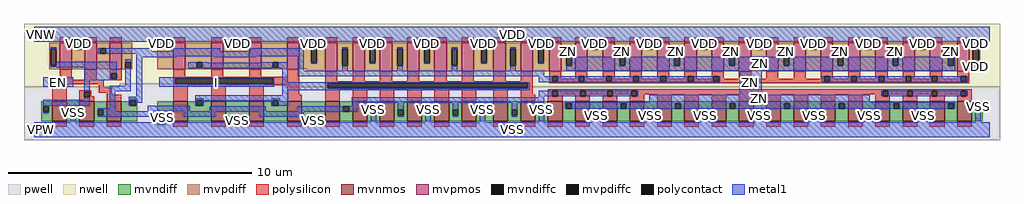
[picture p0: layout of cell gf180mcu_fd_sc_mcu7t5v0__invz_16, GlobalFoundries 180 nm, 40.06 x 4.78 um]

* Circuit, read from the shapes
.subckt gf180mcu_fd_sc_mcu7t5v0__invz_16 EN I ZN VDD VNW VPW VSS
XM1 VSS EN n1 VPW nfet_06v0 w=0.82u l=0.6u
XM2 n2 n1 VSS VPW nfet_06v0 w=0.82u l=0.6u
XM3 n3 EN n2 VPW nfet_06v0 w=0.82u l=0.6u
XM4 n4 I VSS VPW nfet_06v0 w=0.82u l=0.6u m=4
XM5 n2 n4 VSS VPW nfet_06v0 w=0.82u l=0.6u m=8
XM6 ZN n2 VSS VPW nfet_06v0 w=0.82u l=0.6u m=16
XM7 VDD EN n1 VNW pfet_06v0 w=1.095u l=0.5u
XM8 n3 EN VDD VNW pfet_06v0 w=1.095u l=0.5u
XM9 n2 n1 n3 VNW pfet_06v0 w=1.095u l=0.5u
XM10 n4 I VDD VNW pfet_06v0 w=1.095u l=0.5u m=4
XM11 n3 n4 VDD VNW pfet_06v0 w=1.18u l=0.5u m=8
XM12 ZN n3 VDD VNW pfet_06v0 w=1.18u l=0.5u m=16
.ends

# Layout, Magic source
magic
tech gf180mcuD
magscale 1 10
<< nwell >>
rect -86 377 7926 870
rect -86 352 699 377
rect 2089 352 7926 377
<< pwell >>
rect 699 352 2089 377
rect -86 -86 7926 352
<< mvnmos >>
rect 145 68 265 232
rect 369 68 489 232
rect 593 68 713 232
rect 1139 68 1259 232
rect 1451 68 1571 232
rect 1763 68 1883 232
rect 2075 68 2195 232
rect 2387 68 2507 232
rect 2611 68 2731 232
rect 2835 68 2955 232
rect 3059 68 3179 232
rect 3283 68 3403 232
rect 3507 68 3627 232
rect 3767 68 3887 232
rect 3991 68 4111 232
rect 4215 68 4335 232
rect 4439 68 4559 232
rect 4663 68 4783 232
rect 4887 68 5007 232
rect 5111 68 5231 232
rect 5335 68 5455 232
rect 5559 68 5679 232
rect 5783 68 5903 232
rect 6007 68 6127 232
rect 6231 68 6351 232
rect 6455 68 6575 232
rect 6679 68 6799 232
rect 6903 68 7023 232
rect 7127 68 7247 232
rect 7351 68 7471 232
rect 7575 68 7695 232
<< mvpmos >>
rect 208 497 308 716
rect 412 497 512 716
rect 616 497 716 716
rect 1139 497 1239 716
rect 1451 497 1551 716
rect 1763 497 1863 716
rect 2075 497 2175 716
rect 2387 480 2487 716
rect 2611 480 2711 716
rect 2835 480 2935 716
rect 3059 480 3159 716
rect 3283 480 3383 716
rect 3507 480 3607 716
rect 3767 480 3867 716
rect 3991 480 4091 716
rect 4225 480 4325 716
rect 4439 480 4539 716
rect 4663 480 4763 716
rect 4887 480 4987 716
rect 5111 480 5211 716
rect 5335 480 5435 716
rect 5559 480 5659 716
rect 5783 480 5883 716
rect 6007 480 6107 716
rect 6231 480 6331 716
rect 6455 480 6555 716
rect 6679 480 6779 716
rect 6903 480 7003 716
rect 7127 480 7227 716
rect 7351 480 7451 716
rect 7575 480 7675 716
<< mvndiff >>
rect 773 244 845 257
rect 773 232 786 244
rect 57 192 145 232
rect 57 146 70 192
rect 116 146 145 192
rect 57 68 145 146
rect 265 139 369 232
rect 265 93 294 139
rect 340 93 369 139
rect 265 68 369 93
rect 489 166 593 232
rect 489 120 518 166
rect 564 120 593 166
rect 489 68 593 120
rect 713 198 786 232
rect 832 198 845 244
rect 1319 244 1391 257
rect 1319 232 1332 244
rect 713 68 845 198
rect 1007 95 1139 232
rect 1007 49 1020 95
rect 1066 68 1139 95
rect 1259 198 1332 232
rect 1378 232 1391 244
rect 1943 244 2015 257
rect 1943 232 1956 244
rect 1378 198 1451 232
rect 1259 68 1451 198
rect 1571 95 1763 232
rect 1571 68 1644 95
rect 1066 49 1079 68
rect 1007 36 1079 49
rect 1631 49 1644 68
rect 1690 68 1763 95
rect 1883 198 1956 232
rect 2002 232 2015 244
rect 2002 198 2075 232
rect 1883 68 2075 198
rect 2195 95 2387 232
rect 2195 68 2268 95
rect 1690 49 1703 68
rect 1631 36 1703 49
rect 2255 49 2268 68
rect 2314 68 2387 95
rect 2507 192 2611 232
rect 2507 146 2536 192
rect 2582 146 2611 192
rect 2507 68 2611 146
rect 2731 163 2835 232
rect 2731 117 2760 163
rect 2806 117 2835 163
rect 2731 68 2835 117
rect 2955 163 3059 232
rect 2955 117 2984 163
rect 3030 117 3059 163
rect 2955 68 3059 117
rect 3179 163 3283 232
rect 3179 117 3208 163
rect 3254 117 3283 163
rect 3179 68 3283 117
rect 3403 163 3507 232
rect 3403 117 3432 163
rect 3478 117 3507 163
rect 3403 68 3507 117
rect 3627 163 3767 232
rect 3627 117 3656 163
rect 3702 117 3767 163
rect 3627 68 3767 117
rect 3887 163 3991 232
rect 3887 117 3916 163
rect 3962 117 3991 163
rect 3887 68 3991 117
rect 4111 163 4215 232
rect 4111 117 4140 163
rect 4186 117 4215 163
rect 4111 68 4215 117
rect 4335 219 4439 232
rect 4335 173 4364 219
rect 4410 173 4439 219
rect 4335 68 4439 173
rect 4559 127 4663 232
rect 4559 81 4588 127
rect 4634 81 4663 127
rect 4559 68 4663 81
rect 4783 219 4887 232
rect 4783 173 4812 219
rect 4858 173 4887 219
rect 4783 68 4887 173
rect 5007 127 5111 232
rect 5007 81 5036 127
rect 5082 81 5111 127
rect 5007 68 5111 81
rect 5231 219 5335 232
rect 5231 173 5260 219
rect 5306 173 5335 219
rect 5231 68 5335 173
rect 5455 127 5559 232
rect 5455 81 5484 127
rect 5530 81 5559 127
rect 5455 68 5559 81
rect 5679 219 5783 232
rect 5679 173 5708 219
rect 5754 173 5783 219
rect 5679 68 5783 173
rect 5903 127 6007 232
rect 5903 81 5932 127
rect 5978 81 6007 127
rect 5903 68 6007 81
rect 6127 219 6231 232
rect 6127 173 6156 219
rect 6202 173 6231 219
rect 6127 68 6231 173
rect 6351 127 6455 232
rect 6351 81 6380 127
rect 6426 81 6455 127
rect 6351 68 6455 81
rect 6575 219 6679 232
rect 6575 173 6604 219
rect 6650 173 6679 219
rect 6575 68 6679 173
rect 6799 127 6903 232
rect 6799 81 6828 127
rect 6874 81 6903 127
rect 6799 68 6903 81
rect 7023 219 7127 232
rect 7023 173 7052 219
rect 7098 173 7127 219
rect 7023 68 7127 173
rect 7247 127 7351 232
rect 7247 81 7276 127
rect 7322 81 7351 127
rect 7247 68 7351 81
rect 7471 219 7575 232
rect 7471 173 7500 219
rect 7546 173 7575 219
rect 7471 68 7575 173
rect 7695 192 7783 232
rect 7695 146 7724 192
rect 7770 146 7783 192
rect 7695 68 7783 146
rect 2314 49 2327 68
rect 2255 36 2327 49
<< mvpdiff >>
rect 1007 735 1079 748
rect 120 665 208 716
rect 120 525 133 665
rect 179 525 208 665
rect 120 497 208 525
rect 308 703 412 716
rect 308 657 337 703
rect 383 657 412 703
rect 308 497 412 657
rect 512 670 616 716
rect 512 624 541 670
rect 587 624 616 670
rect 512 497 616 624
rect 716 556 804 716
rect 716 510 745 556
rect 791 510 804 556
rect 716 497 804 510
rect 1007 689 1020 735
rect 1066 716 1079 735
rect 1631 735 1703 748
rect 1631 716 1644 735
rect 1066 689 1139 716
rect 1007 497 1139 689
rect 1239 556 1451 716
rect 1239 510 1332 556
rect 1378 510 1451 556
rect 1239 497 1451 510
rect 1551 689 1644 716
rect 1690 716 1703 735
rect 1690 689 1763 716
rect 1551 497 1763 689
rect 1863 556 2075 716
rect 1863 510 1956 556
rect 2002 510 2075 556
rect 1863 497 2075 510
rect 2175 691 2387 716
rect 2175 551 2270 691
rect 2316 551 2387 691
rect 2175 497 2387 551
rect 2239 480 2387 497
rect 2487 665 2611 716
rect 2487 525 2526 665
rect 2572 525 2611 665
rect 2487 480 2611 525
rect 2711 691 2835 716
rect 2711 551 2752 691
rect 2798 551 2835 691
rect 2711 480 2835 551
rect 2935 665 3059 716
rect 2935 525 2976 665
rect 3022 525 3059 665
rect 2935 480 3059 525
rect 3159 691 3283 716
rect 3159 551 3199 691
rect 3245 551 3283 691
rect 3159 480 3283 551
rect 3383 665 3507 716
rect 3383 525 3425 665
rect 3471 525 3507 665
rect 3383 480 3507 525
rect 3607 691 3767 716
rect 3607 551 3666 691
rect 3712 551 3767 691
rect 3607 480 3767 551
rect 3867 665 3991 716
rect 3867 525 3904 665
rect 3950 525 3991 665
rect 3867 480 3991 525
rect 4091 691 4225 716
rect 4091 551 4136 691
rect 4182 551 4225 691
rect 4091 480 4225 551
rect 4325 665 4439 716
rect 4325 525 4364 665
rect 4410 525 4439 665
rect 4325 480 4439 525
rect 4539 703 4663 716
rect 4539 657 4578 703
rect 4624 657 4663 703
rect 4539 480 4663 657
rect 4763 665 4887 716
rect 4763 525 4805 665
rect 4851 525 4887 665
rect 4763 480 4887 525
rect 4987 703 5111 716
rect 4987 657 5027 703
rect 5073 657 5111 703
rect 4987 480 5111 657
rect 5211 665 5335 716
rect 5211 525 5251 665
rect 5297 525 5335 665
rect 5211 480 5335 525
rect 5435 703 5559 716
rect 5435 657 5477 703
rect 5523 657 5559 703
rect 5435 480 5559 657
rect 5659 665 5783 716
rect 5659 525 5702 665
rect 5748 525 5783 665
rect 5659 480 5783 525
rect 5883 703 6007 716
rect 5883 657 5925 703
rect 5971 657 6007 703
rect 5883 480 6007 657
rect 6107 665 6231 716
rect 6107 525 6151 665
rect 6197 525 6231 665
rect 6107 480 6231 525
rect 6331 703 6455 716
rect 6331 657 6373 703
rect 6419 657 6455 703
rect 6331 480 6455 657
rect 6555 665 6679 716
rect 6555 525 6595 665
rect 6641 525 6679 665
rect 6555 480 6679 525
rect 6779 703 6903 716
rect 6779 657 6821 703
rect 6867 657 6903 703
rect 6779 480 6903 657
rect 7003 665 7127 716
rect 7003 525 7045 665
rect 7091 525 7127 665
rect 7003 480 7127 525
rect 7227 703 7351 716
rect 7227 657 7268 703
rect 7314 657 7351 703
rect 7227 480 7351 657
rect 7451 665 7575 716
rect 7451 525 7500 665
rect 7546 525 7575 665
rect 7451 480 7575 525
rect 7675 665 7763 716
rect 7675 525 7704 665
rect 7750 525 7763 665
rect 7675 480 7763 525
<< mvndiffc >>
rect 70 146 116 192
rect 294 93 340 139
rect 518 120 564 166
rect 786 198 832 244
rect 1020 49 1066 95
rect 1332 198 1378 244
rect 1644 49 1690 95
rect 1956 198 2002 244
rect 2268 49 2314 95
rect 2536 146 2582 192
rect 2760 117 2806 163
rect 2984 117 3030 163
rect 3208 117 3254 163
rect 3432 117 3478 163
rect 3656 117 3702 163
rect 3916 117 3962 163
rect 4140 117 4186 163
rect 4364 173 4410 219
rect 4588 81 4634 127
rect 4812 173 4858 219
rect 5036 81 5082 127
rect 5260 173 5306 219
rect 5484 81 5530 127
rect 5708 173 5754 219
rect 5932 81 5978 127
rect 6156 173 6202 219
rect 6380 81 6426 127
rect 6604 173 6650 219
rect 6828 81 6874 127
rect 7052 173 7098 219
rect 7276 81 7322 127
rect 7500 173 7546 219
rect 7724 146 7770 192
<< mvpdiffc >>
rect 133 525 179 665
rect 337 657 383 703
rect 541 624 587 670
rect 745 510 791 556
rect 1020 689 1066 735
rect 1332 510 1378 556
rect 1644 689 1690 735
rect 1956 510 2002 556
rect 2270 551 2316 691
rect 2526 525 2572 665
rect 2752 551 2798 691
rect 2976 525 3022 665
rect 3199 551 3245 691
rect 3425 525 3471 665
rect 3666 551 3712 691
rect 3904 525 3950 665
rect 4136 551 4182 691
rect 4364 525 4410 665
rect 4578 657 4624 703
rect 4805 525 4851 665
rect 5027 657 5073 703
rect 5251 525 5297 665
rect 5477 657 5523 703
rect 5702 525 5748 665
rect 5925 657 5971 703
rect 6151 525 6197 665
rect 6373 657 6419 703
rect 6595 525 6641 665
rect 6821 657 6867 703
rect 7045 525 7091 665
rect 7268 657 7314 703
rect 7500 525 7546 665
rect 7704 525 7750 665
<< polysilicon >>
rect 208 716 308 760
rect 412 716 512 760
rect 616 716 716 760
rect 1139 716 1239 760
rect 1451 716 1551 760
rect 1763 716 1863 760
rect 2075 716 2175 760
rect 2387 716 2487 760
rect 2611 716 2711 760
rect 2835 716 2935 760
rect 3059 716 3159 760
rect 3283 716 3383 760
rect 3507 716 3607 760
rect 3767 716 3867 760
rect 3991 716 4091 760
rect 4225 716 4325 760
rect 4439 716 4539 760
rect 4663 716 4763 760
rect 4887 716 4987 760
rect 5111 716 5211 760
rect 5335 716 5435 760
rect 5559 716 5659 760
rect 5783 716 5883 760
rect 6007 716 6107 760
rect 6231 716 6331 760
rect 6455 716 6555 760
rect 6679 716 6779 760
rect 6903 716 7003 760
rect 7127 716 7227 760
rect 7351 716 7451 760
rect 7575 716 7675 760
rect 208 437 308 497
rect 145 424 308 437
rect 145 378 193 424
rect 239 412 308 424
rect 412 412 512 497
rect 616 464 716 497
rect 616 418 629 464
rect 675 418 716 464
rect 239 378 568 412
rect 616 405 716 418
rect 1139 437 1239 497
rect 1451 437 1551 497
rect 1763 437 1863 497
rect 2075 437 2175 497
rect 1139 424 2175 437
rect 145 372 568 378
rect 145 232 265 372
rect 528 345 568 372
rect 1139 378 1157 424
rect 1959 378 2175 424
rect 1139 365 2175 378
rect 369 311 468 324
rect 369 265 409 311
rect 455 276 468 311
rect 528 305 633 345
rect 593 288 633 305
rect 455 265 489 276
rect 369 232 489 265
rect 593 232 713 288
rect 1139 232 1259 365
rect 145 24 265 68
rect 369 24 489 68
rect 593 24 713 68
rect 1451 232 1571 365
rect 1763 232 1883 365
rect 2075 288 2175 365
rect 2387 399 2487 480
rect 2611 399 2711 480
rect 2835 399 2935 480
rect 3059 399 3159 480
rect 3283 399 3383 480
rect 3507 399 3607 480
rect 3767 399 3867 480
rect 3991 399 4091 480
rect 2387 386 4091 399
rect 2387 340 2406 386
rect 4050 340 4091 386
rect 4225 439 4325 480
rect 4225 393 4249 439
rect 4295 420 4325 439
rect 4439 439 4539 480
rect 4439 420 4467 439
rect 4295 393 4467 420
rect 4513 420 4539 439
rect 4663 439 4763 480
rect 4663 420 4692 439
rect 4513 393 4692 420
rect 4738 420 4763 439
rect 4887 439 4987 480
rect 4887 420 4914 439
rect 4738 393 4914 420
rect 4960 420 4987 439
rect 5111 439 5211 480
rect 5111 420 5139 439
rect 4960 393 5139 420
rect 5185 420 5211 439
rect 5335 439 5435 480
rect 5335 420 5364 439
rect 5185 393 5364 420
rect 5410 420 5435 439
rect 5559 439 5659 480
rect 5559 420 5572 439
rect 5410 393 5572 420
rect 5618 420 5659 439
rect 5783 420 5883 480
rect 6007 420 6107 480
rect 6231 420 6331 480
rect 6455 439 6555 480
rect 6455 420 6482 439
rect 5618 393 6482 420
rect 6528 420 6555 439
rect 6679 439 6779 480
rect 6679 420 6706 439
rect 6528 393 6706 420
rect 6752 420 6779 439
rect 6903 439 7003 480
rect 6903 420 6930 439
rect 6752 393 6930 420
rect 6976 420 7003 439
rect 7127 439 7227 480
rect 7127 420 7153 439
rect 6976 393 7153 420
rect 7199 420 7227 439
rect 7351 439 7451 480
rect 7351 420 7364 439
rect 7199 393 7364 420
rect 7410 420 7451 439
rect 7575 439 7675 480
rect 7575 420 7603 439
rect 7410 393 7603 420
rect 7649 393 7675 439
rect 4225 380 7675 393
rect 2387 327 4091 340
rect 1139 24 1259 68
rect 1451 24 1571 68
rect 2075 232 2195 288
rect 2387 232 2507 327
rect 2611 232 2731 327
rect 2835 232 2955 327
rect 3059 232 3179 327
rect 3283 232 3403 327
rect 3507 232 3627 327
rect 3767 232 3887 327
rect 3991 287 4091 327
rect 4215 319 7695 332
rect 3991 232 4111 287
rect 4215 273 4251 319
rect 4297 292 4479 319
rect 4297 273 4335 292
rect 4215 232 4335 273
rect 4439 273 4479 292
rect 4525 292 4702 319
rect 4525 273 4559 292
rect 4439 232 4559 273
rect 4663 273 4702 292
rect 4748 292 4900 319
rect 4748 273 4783 292
rect 4663 232 4783 273
rect 4887 273 4900 292
rect 4946 292 6964 319
rect 4946 273 5007 292
rect 4887 232 5007 273
rect 5111 232 5231 292
rect 5335 232 5455 292
rect 5559 232 5679 292
rect 5783 232 5903 292
rect 6007 232 6127 292
rect 6231 232 6351 292
rect 6455 232 6575 292
rect 6679 232 6799 292
rect 6903 273 6964 292
rect 7010 292 7163 319
rect 7010 273 7023 292
rect 6903 232 7023 273
rect 7127 273 7163 292
rect 7209 292 7364 319
rect 7209 273 7247 292
rect 7127 232 7247 273
rect 7351 273 7364 292
rect 7410 292 7603 319
rect 7410 273 7471 292
rect 7351 232 7471 273
rect 7575 273 7603 292
rect 7649 273 7695 319
rect 7575 232 7695 273
rect 1763 24 1883 68
rect 2075 24 2195 68
rect 2387 24 2507 68
rect 2611 24 2731 68
rect 2835 24 2955 68
rect 3059 24 3179 68
rect 3283 24 3403 68
rect 3507 24 3627 68
rect 3767 24 3887 68
rect 3991 24 4111 68
rect 4215 24 4335 68
rect 4439 24 4559 68
rect 4663 24 4783 68
rect 4887 24 5007 68
rect 5111 24 5231 68
rect 5335 24 5455 68
rect 5559 24 5679 68
rect 5783 24 5903 68
rect 6007 24 6127 68
rect 6231 24 6351 68
rect 6455 24 6575 68
rect 6679 24 6799 68
rect 6903 24 7023 68
rect 7127 24 7247 68
rect 7351 24 7471 68
rect 7575 24 7695 68
<< polycontact >>
rect 193 378 239 424
rect 629 418 675 464
rect 1157 378 1959 424
rect 409 265 455 311
rect 2406 340 4050 386
rect 4249 393 4295 439
rect 4467 393 4513 439
rect 4692 393 4738 439
rect 4914 393 4960 439
rect 5139 393 5185 439
rect 5364 393 5410 439
rect 5572 393 5618 439
rect 6482 393 6528 439
rect 6706 393 6752 439
rect 6930 393 6976 439
rect 7153 393 7199 439
rect 7364 393 7410 439
rect 7603 393 7649 439
rect 4251 273 4297 319
rect 4479 273 4525 319
rect 4702 273 4748 319
rect 4900 273 4946 319
rect 6964 273 7010 319
rect 7163 273 7209 319
rect 7364 273 7410 319
rect 7603 273 7649 319
<< metal1 >>
rect 0 735 7840 844
rect 0 724 1020 735
rect 326 703 394 724
rect 133 665 179 676
rect 326 657 337 703
rect 383 657 394 703
rect 1009 689 1020 724
rect 1066 724 1644 735
rect 1066 689 1077 724
rect 1631 689 1644 724
rect 1690 724 7840 735
rect 1690 689 1703 724
rect 2270 691 2316 724
rect 518 624 541 670
rect 587 643 963 670
rect 1123 643 1523 671
rect 1771 643 2209 671
rect 587 624 2209 643
rect 837 602 2209 624
rect 837 597 1169 602
rect 1477 597 1817 602
rect 179 525 675 560
rect 133 514 675 525
rect 409 464 675 514
rect 74 424 318 430
rect 74 378 193 424
rect 239 378 318 424
rect 74 354 318 378
rect 409 418 629 464
rect 409 407 675 418
rect 745 556 791 578
rect 409 311 455 407
rect 745 361 791 510
rect 409 245 455 265
rect 70 198 455 245
rect 616 315 791 361
rect 70 192 116 198
rect 616 177 662 315
rect 837 269 883 597
rect 1262 510 1332 556
rect 1378 551 1425 556
rect 1863 551 1956 556
rect 1378 510 1956 551
rect 2002 510 2081 556
rect 1262 505 2081 510
rect 1026 424 1970 430
rect 1026 378 1157 424
rect 1959 378 1970 424
rect 1026 354 1970 378
rect 2035 392 2081 505
rect 2163 485 2209 602
rect 2752 691 2798 724
rect 2270 540 2316 551
rect 2526 665 2572 676
rect 3199 691 3245 724
rect 2752 540 2798 551
rect 2976 665 3022 676
rect 2526 485 2572 525
rect 3666 691 3712 724
rect 3199 540 3245 551
rect 3425 665 3471 676
rect 2976 485 3022 525
rect 4136 691 4182 724
rect 3666 540 3712 551
rect 3904 665 3950 676
rect 3425 485 3471 525
rect 4567 703 4635 724
rect 4136 540 4182 551
rect 4364 665 4410 676
rect 3904 485 3950 525
rect 4567 657 4578 703
rect 4624 657 4635 703
rect 5016 703 5084 724
rect 4805 665 4851 676
rect 4410 525 4805 601
rect 5016 657 5027 703
rect 5073 657 5084 703
rect 5466 703 5534 724
rect 5251 665 5297 676
rect 4851 525 5251 601
rect 5466 657 5477 703
rect 5523 657 5534 703
rect 5914 703 5982 724
rect 5702 665 5748 676
rect 5297 525 5702 601
rect 5914 657 5925 703
rect 5971 657 5982 703
rect 6362 703 6430 724
rect 6151 665 6197 676
rect 5748 525 6151 601
rect 6362 657 6373 703
rect 6419 657 6430 703
rect 6810 703 6878 724
rect 6595 665 6641 676
rect 6197 525 6595 601
rect 6810 657 6821 703
rect 6867 657 6878 703
rect 7257 703 7325 724
rect 7045 665 7091 676
rect 6641 525 7045 601
rect 7257 657 7268 703
rect 7314 657 7325 703
rect 7500 665 7557 676
rect 7091 525 7500 601
rect 7546 525 7557 665
rect 4364 485 7557 525
rect 7704 665 7750 724
rect 7704 506 7750 525
rect 2163 439 4186 485
rect 2163 438 4249 439
rect 4140 393 4249 438
rect 4295 393 4467 439
rect 4513 393 4692 439
rect 4738 393 4914 439
rect 4960 393 5139 439
rect 5185 393 5364 439
rect 5410 393 5572 439
rect 5618 393 5629 439
rect 4140 392 5629 393
rect 2035 386 4065 392
rect 2035 340 2406 386
rect 4050 340 4065 386
rect 2035 326 4065 340
rect 2035 284 2083 326
rect 773 244 883 269
rect 773 198 786 244
rect 832 223 883 244
rect 1319 244 2083 284
rect 4140 273 4251 319
rect 4297 273 4479 319
rect 4525 273 4702 319
rect 4748 273 4900 319
rect 4946 273 4957 319
rect 5790 289 5970 485
rect 6463 393 6482 439
rect 6528 393 6706 439
rect 6752 393 6930 439
rect 6976 393 7153 439
rect 7199 393 7364 439
rect 7410 393 7603 439
rect 7649 393 7660 439
rect 6463 392 7660 393
rect 4140 266 4186 273
rect 832 198 845 223
rect 1319 198 1332 244
rect 1378 238 1956 244
rect 1378 198 1391 238
rect 1943 198 1956 238
rect 2002 198 2083 244
rect 2605 220 4186 266
rect 5048 227 6857 289
rect 6953 273 6964 319
rect 7010 273 7163 319
rect 7209 273 7364 319
rect 7410 273 7603 319
rect 7649 273 7660 319
rect 518 166 662 177
rect 70 135 116 146
rect 294 139 340 152
rect 564 152 662 166
rect 928 152 1273 198
rect 2605 192 2651 220
rect 1437 152 1897 192
rect 2163 152 2536 192
rect 564 120 974 152
rect 518 106 974 120
rect 1227 146 2536 152
rect 2582 146 2651 192
rect 2760 163 2806 174
rect 1227 106 1483 146
rect 1851 106 2209 146
rect 294 60 340 93
rect 1020 95 1077 106
rect 0 49 1020 60
rect 1066 60 1077 95
rect 1631 60 1644 95
rect 1066 49 1644 60
rect 1690 60 1703 95
rect 2255 60 2268 95
rect 1690 49 2268 60
rect 2314 60 2327 95
rect 2760 60 2806 117
rect 2984 163 3030 220
rect 2984 106 3030 117
rect 3208 163 3254 174
rect 3208 60 3254 117
rect 3432 163 3478 220
rect 3432 106 3478 117
rect 3656 163 3702 174
rect 3656 60 3702 117
rect 3916 163 3962 220
rect 4351 219 7557 227
rect 3916 106 3962 117
rect 4140 163 4186 174
rect 4351 173 4364 219
rect 4410 173 4812 219
rect 4858 173 5260 219
rect 5306 173 5708 219
rect 5754 173 6156 219
rect 6202 173 6604 219
rect 6650 173 7052 219
rect 7098 173 7500 219
rect 7546 173 7557 219
rect 7724 192 7770 203
rect 4140 60 4186 117
rect 4577 81 4588 127
rect 4634 81 4645 127
rect 4577 60 4645 81
rect 5025 81 5036 127
rect 5082 81 5093 127
rect 5025 60 5093 81
rect 5473 81 5484 127
rect 5530 81 5541 127
rect 5473 60 5541 81
rect 5921 81 5932 127
rect 5978 81 5989 127
rect 5921 60 5989 81
rect 6369 81 6380 127
rect 6426 81 6437 127
rect 6369 60 6437 81
rect 6817 81 6828 127
rect 6874 81 6885 127
rect 6817 60 6885 81
rect 7265 81 7276 127
rect 7322 81 7333 127
rect 7265 60 7333 81
rect 7724 60 7770 146
rect 2314 49 7840 60
rect 0 -60 7840 49
<< labels >>
flabel metal1 s 0 724 7840 844 0 FreeSans 400 0 0 0 VDD
port 4 nsew power bidirectional abutment
flabel metal1 s 7724 174 7770 203 0 FreeSans 400 0 0 0 VSS
port 7 nsew ground bidirectional abutment
flabel metal1 s 7500 601 7557 676 0 FreeSans 400 0 0 0 ZN
port 3 nsew default output
flabel metal1 s 74 354 318 430 0 FreeSans 400 0 0 0 EN
port 1 nsew default input
flabel metal1 s 1026 354 1970 430 0 FreeSans 400 0 0 0 I
port 2 nsew default input
flabel nwell s 10 734 110 834 0 FreeSans 400 0 0 0 VNW
port 5 nsew power bidirectional
flabel pwell s 10 -50 110 50 0 FreeSans 400 0 0 0 VPW
port 6 nsew ground bidirectional
rlabel metal1 s 7045 601 7091 676 1 ZN
port 3 nsew default output
rlabel metal1 s 6595 601 6641 676 1 ZN
port 3 nsew default output
rlabel metal1 s 6151 601 6197 676 1 ZN
port 3 nsew default output
rlabel metal1 s 5702 601 5748 676 1 ZN
port 3 nsew default output
rlabel metal1 s 5251 601 5297 676 1 ZN
port 3 nsew default output
rlabel metal1 s 4805 601 4851 676 1 ZN
port 3 nsew default output
rlabel metal1 s 4364 601 4410 676 1 ZN
port 3 nsew default output
rlabel metal1 s 4364 485 7557 601 1 ZN
port 3 nsew default output
rlabel metal1 s 5790 289 5970 485 1 ZN
port 3 nsew default output
rlabel metal1 s 5048 227 6857 289 1 ZN
port 3 nsew default output
rlabel metal1 s 4351 173 7557 227 1 ZN
port 3 nsew default output
rlabel metal1 s 7704 689 7750 724 1 VDD
port 4 nsew power bidirectional abutment
rlabel metal1 s 7257 689 7325 724 1 VDD
port 4 nsew power bidirectional abutment
rlabel metal1 s 6810 689 6878 724 1 VDD
port 4 nsew power bidirectional abutment
rlabel metal1 s 6362 689 6430 724 1 VDD
port 4 nsew power bidirectional abutment
rlabel metal1 s 5914 689 5982 724 1 VDD
port 4 nsew power bidirectional abutment
rlabel metal1 s 5466 689 5534 724 1 VDD
port 4 nsew power bidirectional abutment
rlabel metal1 s 5016 689 5084 724 1 VDD
port 4 nsew power bidirectional abutment
rlabel metal1 s 4567 689 4635 724 1 VDD
port 4 nsew power bidirectional abutment
rlabel metal1 s 4136 689 4182 724 1 VDD
port 4 nsew power bidirectional abutment
rlabel metal1 s 3666 689 3712 724 1 VDD
port 4 nsew power bidirectional abutment
rlabel metal1 s 3199 689 3245 724 1 VDD
port 4 nsew power bidirectional abutment
rlabel metal1 s 2752 689 2798 724 1 VDD
port 4 nsew power bidirectional abutment
rlabel metal1 s 2270 689 2316 724 1 VDD
port 4 nsew power bidirectional abutment
rlabel metal1 s 1631 689 1703 724 1 VDD
port 4 nsew power bidirectional abutment
rlabel metal1 s 1009 689 1077 724 1 VDD
port 4 nsew power bidirectional abutment
rlabel metal1 s 326 689 394 724 1 VDD
port 4 nsew power bidirectional abutment
rlabel metal1 s 7704 657 7750 689 1 VDD
port 4 nsew power bidirectional abutment
rlabel metal1 s 7257 657 7325 689 1 VDD
port 4 nsew power bidirectional abutment
rlabel metal1 s 6810 657 6878 689 1 VDD
port 4 nsew power bidirectional abutment
rlabel metal1 s 6362 657 6430 689 1 VDD
port 4 nsew power bidirectional abutment
rlabel metal1 s 5914 657 5982 689 1 VDD
port 4 nsew power bidirectional abutment
rlabel metal1 s 5466 657 5534 689 1 VDD
port 4 nsew power bidirectional abutment
rlabel metal1 s 5016 657 5084 689 1 VDD
port 4 nsew power bidirectional abutment
rlabel metal1 s 4567 657 4635 689 1 VDD
port 4 nsew power bidirectional abutment
rlabel metal1 s 4136 657 4182 689 1 VDD
port 4 nsew power bidirectional abutment
rlabel metal1 s 3666 657 3712 689 1 VDD
port 4 nsew power bidirectional abutment
rlabel metal1 s 3199 657 3245 689 1 VDD
port 4 nsew power bidirectional abutment
rlabel metal1 s 2752 657 2798 689 1 VDD
port 4 nsew power bidirectional abutment
rlabel metal1 s 2270 657 2316 689 1 VDD
port 4 nsew power bidirectional abutment
rlabel metal1 s 326 657 394 689 1 VDD
port 4 nsew power bidirectional abutment
rlabel metal1 s 7704 540 7750 657 1 VDD
port 4 nsew power bidirectional abutment
rlabel metal1 s 4136 540 4182 657 1 VDD
port 4 nsew power bidirectional abutment
rlabel metal1 s 3666 540 3712 657 1 VDD
port 4 nsew power bidirectional abutment
rlabel metal1 s 3199 540 3245 657 1 VDD
port 4 nsew power bidirectional abutment
rlabel metal1 s 2752 540 2798 657 1 VDD
port 4 nsew power bidirectional abutment
rlabel metal1 s 2270 540 2316 657 1 VDD
port 4 nsew power bidirectional abutment
rlabel metal1 s 7704 506 7750 540 1 VDD
port 4 nsew power bidirectional abutment
rlabel metal1 s 7724 152 7770 174 1 VSS
port 7 nsew ground bidirectional abutment
rlabel metal1 s 4140 152 4186 174 1 VSS
port 7 nsew ground bidirectional abutment
rlabel metal1 s 3656 152 3702 174 1 VSS
port 7 nsew ground bidirectional abutment
rlabel metal1 s 3208 152 3254 174 1 VSS
port 7 nsew ground bidirectional abutment
rlabel metal1 s 2760 152 2806 174 1 VSS
port 7 nsew ground bidirectional abutment
rlabel metal1 s 7724 127 7770 152 1 VSS
port 7 nsew ground bidirectional abutment
rlabel metal1 s 4140 127 4186 152 1 VSS
port 7 nsew ground bidirectional abutment
rlabel metal1 s 3656 127 3702 152 1 VSS
port 7 nsew ground bidirectional abutment
rlabel metal1 s 3208 127 3254 152 1 VSS
port 7 nsew ground bidirectional abutment
rlabel metal1 s 2760 127 2806 152 1 VSS
port 7 nsew ground bidirectional abutment
rlabel metal1 s 294 127 340 152 1 VSS
port 7 nsew ground bidirectional abutment
rlabel metal1 s 7724 106 7770 127 1 VSS
port 7 nsew ground bidirectional abutment
rlabel metal1 s 7265 106 7333 127 1 VSS
port 7 nsew ground bidirectional abutment
rlabel metal1 s 6817 106 6885 127 1 VSS
port 7 nsew ground bidirectional abutment
rlabel metal1 s 6369 106 6437 127 1 VSS
port 7 nsew ground bidirectional abutment
rlabel metal1 s 5921 106 5989 127 1 VSS
port 7 nsew ground bidirectional abutment
rlabel metal1 s 5473 106 5541 127 1 VSS
port 7 nsew ground bidirectional abutment
rlabel metal1 s 5025 106 5093 127 1 VSS
port 7 nsew ground bidirectional abutment
rlabel metal1 s 4577 106 4645 127 1 VSS
port 7 nsew ground bidirectional abutment
rlabel metal1 s 4140 106 4186 127 1 VSS
port 7 nsew ground bidirectional abutment
rlabel metal1 s 3656 106 3702 127 1 VSS
port 7 nsew ground bidirectional abutment
rlabel metal1 s 3208 106 3254 127 1 VSS
port 7 nsew ground bidirectional abutment
rlabel metal1 s 2760 106 2806 127 1 VSS
port 7 nsew ground bidirectional abutment
rlabel metal1 s 294 106 340 127 1 VSS
port 7 nsew ground bidirectional abutment
rlabel metal1 s 7724 95 7770 106 1 VSS
port 7 nsew ground bidirectional abutment
rlabel metal1 s 7265 95 7333 106 1 VSS
port 7 nsew ground bidirectional abutment
rlabel metal1 s 6817 95 6885 106 1 VSS
port 7 nsew ground bidirectional abutment
rlabel metal1 s 6369 95 6437 106 1 VSS
port 7 nsew ground bidirectional abutment
rlabel metal1 s 5921 95 5989 106 1 VSS
port 7 nsew ground bidirectional abutment
rlabel metal1 s 5473 95 5541 106 1 VSS
port 7 nsew ground bidirectional abutment
rlabel metal1 s 5025 95 5093 106 1 VSS
port 7 nsew ground bidirectional abutment
rlabel metal1 s 4577 95 4645 106 1 VSS
port 7 nsew ground bidirectional abutment
rlabel metal1 s 4140 95 4186 106 1 VSS
port 7 nsew ground bidirectional abutment
rlabel metal1 s 3656 95 3702 106 1 VSS
port 7 nsew ground bidirectional abutment
rlabel metal1 s 3208 95 3254 106 1 VSS
port 7 nsew ground bidirectional abutment
rlabel metal1 s 2760 95 2806 106 1 VSS
port 7 nsew ground bidirectional abutment
rlabel metal1 s 1020 95 1077 106 1 VSS
port 7 nsew ground bidirectional abutment
rlabel metal1 s 294 95 340 106 1 VSS
port 7 nsew ground bidirectional abutment
rlabel metal1 s 7724 60 7770 95 1 VSS
port 7 nsew ground bidirectional abutment
rlabel metal1 s 7265 60 7333 95 1 VSS
port 7 nsew ground bidirectional abutment
rlabel metal1 s 6817 60 6885 95 1 VSS
port 7 nsew ground bidirectional abutment
rlabel metal1 s 6369 60 6437 95 1 VSS
port 7 nsew ground bidirectional abutment
rlabel metal1 s 5921 60 5989 95 1 VSS
port 7 nsew ground bidirectional abutment
rlabel metal1 s 5473 60 5541 95 1 VSS
port 7 nsew ground bidirectional abutment
rlabel metal1 s 5025 60 5093 95 1 VSS
port 7 nsew ground bidirectional abutment
rlabel metal1 s 4577 60 4645 95 1 VSS
port 7 nsew ground bidirectional abutment
rlabel metal1 s 4140 60 4186 95 1 VSS
port 7 nsew ground bidirectional abutment
rlabel metal1 s 3656 60 3702 95 1 VSS
port 7 nsew ground bidirectional abutment
rlabel metal1 s 3208 60 3254 95 1 VSS
port 7 nsew ground bidirectional abutment
rlabel metal1 s 2760 60 2806 95 1 VSS
port 7 nsew ground bidirectional abutment
rlabel metal1 s 2255 60 2327 95 1 VSS
port 7 nsew ground bidirectional abutment
rlabel metal1 s 1631 60 1703 95 1 VSS
port 7 nsew ground bidirectional abutment
rlabel metal1 s 1020 60 1077 95 1 VSS
port 7 nsew ground bidirectional abutment
rlabel metal1 s 294 60 340 95 1 VSS
port 7 nsew ground bidirectional abutment
rlabel metal1 s 0 -60 7840 60 1 VSS
port 7 nsew ground bidirectional abutment
<< properties >>
string FIXED_BBOX 0 0 7840 784
string GDS_END 580174
string GDS_FILE $PDKPATH/libs.ref/gf180mcu_fd_sc_mcu7t5v0/gds/gf180mcu_fd_sc_mcu7t5v0.gds
string GDS_START 564396
string LEFclass core
string LEFsite GF018hv5v_mcu_sc7
string LEFsymmetry X Y
<< end >>
